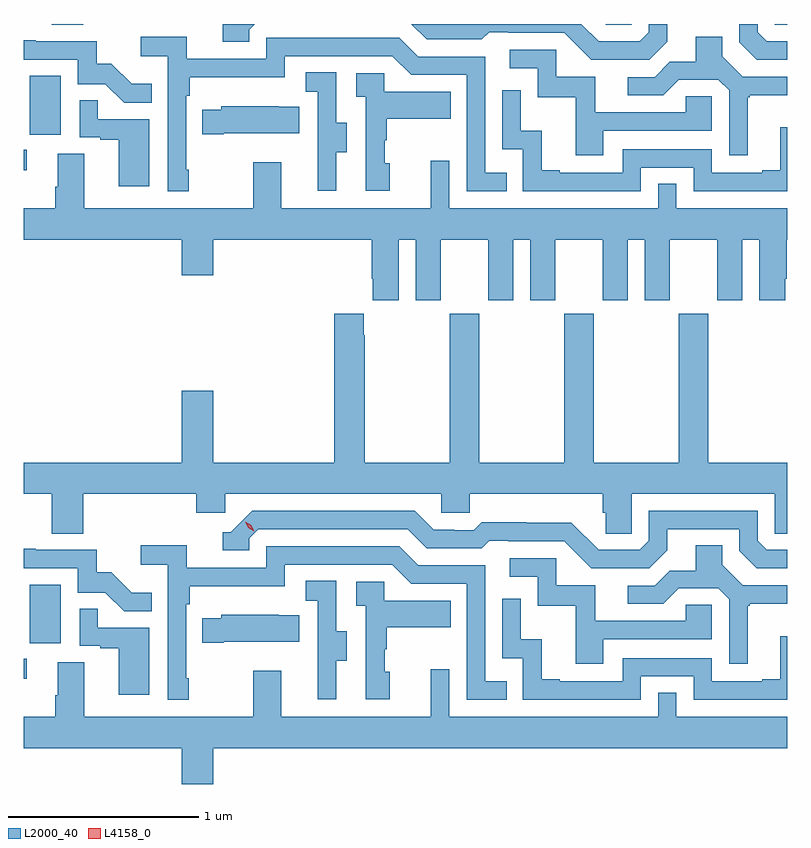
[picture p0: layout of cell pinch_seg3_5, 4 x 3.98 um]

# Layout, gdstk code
import gdstk
lib = gdstk.Library(unit=1e-6, precision=1e-09)
def R(c, l, rs):  # rectangles x0, y0, x1, y1
    for r in rs: c.add(gdstk.rectangle(r[:2], r[2:], *l))
def P(c, l, *ps):  # polygons
    for p in ps: c.add(gdstk.Polygon(p, *l))
L2000_40 = (2000, 40)
L4158_0 = (4158, 0)

pinch_seg3_5 = lib.new_cell('pinch_seg3_5')
R(pinch_seg3_5, L2000_40, [(1141.201,731.916,1141.216,732.021), (1141.232,732.102,1141.396,732.409), (1141.201,734.58,1141.216,734.685), (1141.232,734.766,1141.396,735.073), (1141.349,735.34,1141.514,735.345), (1144.249,735.34,1144.386,735.345), (1145.136,735.34,1145.201,735.345)])
P(pinch_seg3_5, L2000_40, [(1145.201,735.255),(1145.094,735.255),(1145.046,735.303),(1145.046,735.345),(1144.95,735.345),(1144.95,735.249),(1145.04,735.159),(1145.201,735.159)],
  [(1144.573,735.253),(1144.573,735.345),(1144.476,735.345),(1144.476,735.303),(1144.428,735.255),(1144.212,735.255),(1144.122,735.345),(1143.231,735.345),(1143.312,735.264),(1143.601,735.264),(1143.64,735.303),(1143.739,735.303),(1143.739,735.3),(1144.032,735.3),(1144.173,735.159),(1144.479,735.159)],
  [(1142.382,735.315),(1142.412,735.345),(1142.243,735.345),(1142.243,735.252),(1142.382,735.252)],
  [(1144.993,734.961),(1145.005,734.961),(1145.005,734.972),(1145.201,734.972),(1145.201,735.069),(1144.968,735.069),(1144.861,735.176),(1144.861,735.278),(1144.721,735.278),(1144.721,735.146),(1144.586,735.146),(1144.506,735.066),(1144.365,735.066),(1144.365,734.973),(1144.552,734.973),(1144.633,735.054),(1144.839,735.054),(1144.896,734.997),(1144.896,734.658),(1144.993,734.658)],
  [(1142.065,734.581),(1142.052,734.581),(1142.052,734.969),(1142.072,734.969),(1142.072,735.065),(1142.568,735.065),(1142.568,735.177),(1143.132,735.177),(1143.231,735.078),(1143.522,735.078),(1143.522,734.469),(1143.731,734.469),(1143.731,734.565),(1143.618,734.565),(1143.618,735.174),(1143.268,735.174),(1143.169,735.273),(1142.472,735.273),(1142.472,735.162),(1142.054,735.162),(1142.054,735.278),(1141.815,735.278),(1141.815,735.176),(1141.956,735.176),(1141.956,734.469),(1142.065,734.469)],
  [(1141.871,735.031),(1141.767,735.031),(1141.66,735.138),(1141.584,735.138),(1141.584,735.255),(1141.265,735.255),(1141.265,735.26),(1141.201,735.26),(1141.201,735.159),(1141.485,735.159),(1141.485,735.03),(1141.629,735.03),(1141.727,734.932),(1141.871,734.932)],
  [(1144.237,734.787),(1144.806,734.787),(1144.806,734.967),(1144.669,734.967),(1144.669,734.883),(1144.195,734.883),(1144.195,735.069),(1143.99,735.069),(1143.99,735.21),(1143.747,735.21),(1143.747,735.114),(1143.894,735.114),(1143.894,734.961),(1144.093,734.961),(1144.093,734.658),(1144.237,734.658)],
  [(1142.839,734.674),(1142.893,734.674),(1142.893,734.829),(1142.838,734.829),(1142.838,735.092),(1142.679,735.092),(1142.679,734.989),(1142.742,734.989),(1142.742,734.685),(1142.741,734.685),(1142.741,734.472),(1142.839,734.472)],
  [(1143.118,734.616),(1143.093,734.616),(1143.093,734.735),(1143.103,734.735),(1143.103,734.849),(1143.437,734.849),(1143.437,734.989),(1143.09,734.989),(1143.09,735.087),(1142.943,735.087),(1142.943,734.963),(1142.994,734.963),(1142.994,734.472),(1143.118,734.472)],
  [(1144.434,734.592),(1144.71,734.592),(1144.71,734.469),(1145.201,734.469),(1145.201,734.803),(1145.165,734.803),(1145.165,734.578),(1145.069,734.578),(1145.069,734.565),(1144.806,734.565),(1144.806,734.688),(1144.338,734.688),(1144.338,734.565),(1144.009,734.565),(1144.009,734.578),(1143.914,734.578),(1143.914,734.786),(1143.804,734.786),(1143.804,734.998),(1143.708,734.998),(1143.708,734.688),(1143.816,734.688),(1143.816,734.469),(1144.434,734.469)],
  [(1141.858,734.847),(1141.589,734.847),(1141.589,734.945),(1141.494,734.945),(1141.494,734.751),(1141.601,734.751),(1141.601,734.739),(1141.7,734.739),(1141.7,734.496),(1141.858,734.496)],
  [(1142.248,734.774),(1142.645,734.774),(1142.645,734.911),(1142.537,734.911),(1142.537,734.914),(1142.235,734.914),(1142.235,734.896),(1142.137,734.896),(1142.137,734.767),(1142.248,734.767)],
  [(1143.166,734.216),(1143.254,734.216),(1143.254,733.899),(1143.385,733.899),(1143.385,734.216),(1143.635,734.216),(1143.635,733.899),(1143.766,733.899),(1143.766,734.216),(1143.854,734.216),(1143.854,733.899),(1143.985,733.899),(1143.985,734.216),(1144.235,734.216),(1144.235,733.899),(1144.366,733.899),(1144.366,734.216),(1144.454,734.216),(1144.454,733.899),(1144.585,733.899),(1144.585,734.216),(1144.835,734.216),(1144.835,733.899),(1144.966,733.899),(1144.966,734.216),(1145.054,734.216),(1145.054,733.899),(1145.191,733.899),(1145.191,734.011),(1145.198,734.011),(1145.198,734.216),(1145.201,734.216),(1145.201,734.38),(1144.62,734.38),(1144.62,734.507),(1144.524,734.507),(1144.524,734.38),(1143.429,734.38),(1143.429,734.629),(1143.332,734.629),(1143.332,734.38),(1142.551,734.38),(1142.551,734.62),(1142.404,734.62),(1142.404,734.38),(1141.519,734.38),(1141.519,734.666),(1141.379,734.666),(1141.379,734.492),(1141.367,734.492),(1141.367,734.38),(1141.201,734.38),(1141.201,734.216),(1142.03,734.216),(1142.03,734.028),(1142.194,734.028),(1142.194,734.216),(1143.023,734.216),(1143.023,734.011),(1143.029,734.011),(1143.029,733.899),(1143.166,733.899)],
  [(1141.514,732.884),(1142.105,732.884),(1142.105,732.786),(1142.256,732.786),(1142.256,732.884),(1143.387,732.884),(1143.387,732.786),(1143.537,732.786),(1143.537,732.884),(1144.235,732.884),(1144.235,732.786),(1144.249,732.786),(1144.249,732.676),(1144.386,732.676),(1144.386,732.884),(1145.136,732.884),(1145.136,732.676),(1145.201,732.676),(1145.201,733.048),(1144.788,733.048),(1144.788,733.828),(1144.633,733.828),(1144.633,733.048),(1144.188,733.048),(1144.188,733.828),(1144.033,733.828),(1144.033,733.048),(1143.588,733.048),(1143.588,733.828),(1143.433,733.828),(1143.433,733.048),(1142.988,733.048),(1142.988,733.715),(1142.983,733.715),(1142.983,733.828),(1142.828,733.828),(1142.828,733.048),(1142.194,733.048),(1142.194,733.423),(1142.03,733.423),(1142.03,733.048),(1141.201,733.048),(1141.201,732.884),(1141.349,732.884),(1141.349,732.676),(1141.514,732.676)],
  [(1144.573,732.589),(1144.573,732.699),(1144.95,732.699),(1144.95,732.585),(1145.04,732.495),(1145.201,732.495),(1145.201,732.591),(1145.094,732.591),(1145.046,732.639),(1145.046,732.795),(1144.476,732.795),(1144.476,732.639),(1144.428,732.591),(1144.212,732.591),(1144.07,732.733),(1143.834,732.733),(1143.834,732.736),(1143.601,732.736),(1143.559,732.693),(1143.456,732.693),(1143.456,732.696),(1143.349,732.696),(1143.25,732.795),(1142.397,732.795),(1142.286,732.684),(1142.243,732.684),(1142.243,732.588),(1142.382,732.588),(1142.382,732.651),(1142.43,732.699),(1143.213,732.699),(1143.312,732.6),(1143.601,732.6),(1143.64,732.639),(1143.739,732.639),(1143.739,732.636),(1144.032,732.636),(1144.173,732.495),(1144.479,732.495)],
  [(1142.065,731.917),(1142.052,731.917),(1142.052,732.305),(1142.072,732.305),(1142.072,732.401),(1142.568,732.401),(1142.568,732.513),(1143.132,732.513),(1143.231,732.414),(1143.522,732.414),(1143.522,731.805),(1143.731,731.805),(1143.731,731.901),(1143.618,731.901),(1143.618,732.51),(1143.268,732.51),(1143.169,732.609),(1142.472,732.609),(1142.472,732.498),(1142.054,732.498),(1142.054,732.614),(1141.815,732.614),(1141.815,732.512),(1141.956,732.512),(1141.956,731.805),(1142.065,731.805)],
  [(1144.993,732.297),(1145.005,732.297),(1145.005,732.308),(1145.201,732.308),(1145.201,732.405),(1144.968,732.405),(1144.861,732.512),(1144.861,732.614),(1144.721,732.614),(1144.721,732.482),(1144.586,732.482),(1144.506,732.402),(1144.365,732.402),(1144.365,732.309),(1144.552,732.309),(1144.633,732.39),(1144.839,732.39),(1144.896,732.333),(1144.896,731.994),(1144.993,731.994)],
  [(1141.871,732.367),(1141.767,732.367),(1141.66,732.474),(1141.584,732.474),(1141.584,732.591),(1141.265,732.591),(1141.265,732.596),(1141.201,732.596),(1141.201,732.495),(1141.485,732.495),(1141.485,732.366),(1141.629,732.366),(1141.727,732.268),(1141.871,732.268)],
  [(1144.237,732.123),(1144.806,732.123),(1144.806,732.303),(1144.669,732.303),(1144.669,732.219),(1144.195,732.219),(1144.195,732.405),(1143.99,732.405),(1143.99,732.546),(1143.747,732.546),(1143.747,732.45),(1143.894,732.45),(1143.894,732.297),(1144.093,732.297),(1144.093,731.994),(1144.237,731.994)],
  [(1142.839,732.01),(1142.893,732.01),(1142.893,732.165),(1142.838,732.165),(1142.838,732.428),(1142.679,732.428),(1142.679,732.325),(1142.742,732.325),(1142.742,732.021),(1142.741,732.021),(1142.741,731.808),(1142.839,731.808)],
  [(1143.118,731.952),(1143.093,731.952),(1143.093,732.071),(1143.103,732.071),(1143.103,732.185),(1143.437,732.185),(1143.437,732.325),(1143.09,732.325),(1143.09,732.423),(1142.943,732.423),(1142.943,732.299),(1142.994,732.299),(1142.994,731.808),(1143.118,731.808)],
  [(1144.434,731.928),(1144.71,731.928),(1144.71,731.805),(1145.201,731.805),(1145.201,732.139),(1145.165,732.139),(1145.165,731.914),(1145.069,731.914),(1145.069,731.901),(1144.806,731.901),(1144.806,732.024),(1144.338,732.024),(1144.338,731.901),(1144.009,731.901),(1144.009,731.914),(1143.914,731.914),(1143.914,732.122),(1143.804,732.122),(1143.804,732.334),(1143.708,732.334),(1143.708,732.024),(1143.816,732.024),(1143.816,731.805),(1144.434,731.805)],
  [(1141.858,732.183),(1141.589,732.183),(1141.589,732.281),(1141.494,732.281),(1141.494,732.087),(1141.601,732.087),(1141.601,732.075),(1141.7,732.075),(1141.7,731.832),(1141.858,731.832)],
  [(1142.248,732.11),(1142.645,732.11),(1142.645,732.247),(1142.537,732.247),(1142.537,732.25),(1142.235,732.25),(1142.235,732.232),(1142.137,732.232),(1142.137,732.103),(1142.248,732.103)],
  [(1142.194,731.552),(1145.201,731.552),(1145.201,731.716),(1144.62,731.716),(1144.62,731.843),(1144.524,731.843),(1144.524,731.716),(1143.429,731.716),(1143.429,731.965),(1143.332,731.965),(1143.332,731.716),(1142.551,731.716),(1142.551,731.956),(1142.404,731.956),(1142.404,731.716),(1141.519,731.716),(1141.519,732.002),(1141.379,732.002),(1141.379,731.828),(1141.367,731.828),(1141.367,731.716),(1141.201,731.716),(1141.201,731.552),(1142.03,731.552),(1142.03,731.364),(1142.194,731.364)])
P(pinch_seg3_5, L4158_0, [(1142.408,732.687),(1142.377,732.706),(1142.361,732.739),(1142.361,732.739),(1142.362,732.739),(1142.392,732.72),(1142.408,732.687),(1142.408,732.687)])

lib.write_gds('pinch_seg3_5.gds')
